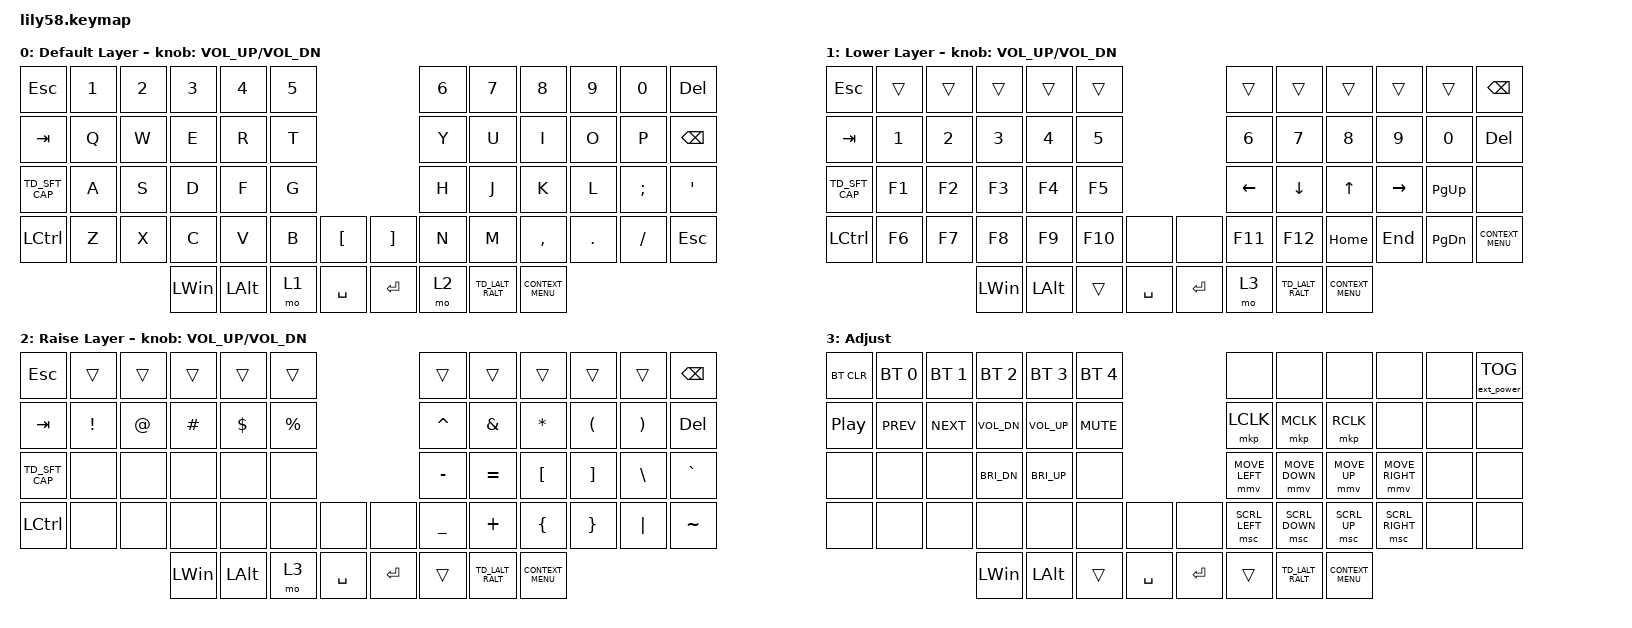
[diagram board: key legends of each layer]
/*
 * Copyright (c) 2020 The ZMK Contributors
 *
 * SPDX-License-Identifier: MIT
 */

// Mouse scrolling and movement velocities
#define ZMK_POINTING_DEFAULT_MOVE_VAL 1500  // default: 600
#define ZMK_POINTING_DEFAULT_SCRL_VAL 20    // default: 10

#include <behaviors.dtsi>
#include <dt-bindings/zmk/bt.h>
#include <dt-bindings/zmk/ext_power.h>
#include <dt-bindings/zmk/keys.h>
#include <dt-bindings/zmk/pointing.h>

&mmv { time-to-max-speed-ms = <1500>; };

/ {
    behaviors {
        TD_SFT_CAP: tap_dance_0 {
            compatible = "zmk,behavior-tap-dance";
            label = "TD_SFT_CAP";
            #binding-cells = <0>;
            tapping-term-ms = <200>;
            bindings = <&kp LEFT_SHIFT>, <&kp CAPS>;
        };

        TD_LALT_RALT: tap_dance_1 {
            compatible = "zmk,behavior-tap-dance";
            label = "TD_LALT_RALT";
            #binding-cells = <0>;
            tapping-term-ms = <200>;
            bindings = <&kp LALT>, <&kp RALT>;
        };
    };

    keymap {
        compatible = "zmk,keymap";

        default_layer {
            display-name = "Default Layer";

            // ------------------------------------------------------------------------------------------------------------
            // |  ESC  |  1  |  2  |  3   |  4   |  5   |                   |  6   |  7    |  8    |  9   |   0   |   `   |
            // |  TAB  |  Q  |  W  |  E   |  R   |  T   |                   |  Y   |  U    |  I    |  O   |   P   |   -   |
            // |  CTRL |  A  |  S  |  D   |  F   |  G   |                   |  H   |  J    |  K    |  L   |   ;   |   '   |
            // | SHIFT |  Z  |  X  |  C   |  V   |  B   |   "["  |  |  "]"  |  N   |  M    |  ,    |  .   |   /   | SHIFT |
            //                     | ALT  | GUI  | LOWER|  SPACE |  | ENTER | RAISE| BSPC  | GUI   |

            bindings = <
&kp ESC      &kp N1  &kp N2  &kp N3        &kp N4        &kp N5                         &kp N6  &kp N7         &kp N8              &kp N9   &kp N0    &kp DEL
&kp TAB      &kp Q   &kp W   &kp E         &kp R         &kp T                          &kp Y   &kp U          &kp I               &kp O    &kp P     &kp BACKSPACE
&TD_SFT_CAP  &kp A   &kp S   &kp D         &kp F         &kp G                          &kp H   &kp J          &kp K               &kp L    &kp SEMI  &kp SQT
&kp LCTRL    &kp Z   &kp X   &kp C         &kp V         &kp B   &kp LBKT     &kp RBKT  &kp N   &kp M          &kp COMMA           &kp DOT  &kp FSLH  &kp ESCAPE
                             &kp LEFT_WIN  &kp LEFT_ALT  &mo 1   &kp SPACE    &kp RET   &mo 2   &TD_LALT_RALT  &kp K_CONTEXT_MENU
            >;

            sensor-bindings = <&inc_dec_kp C_VOL_UP C_VOL_DN>;
        };

        lower_layer {
            display-name = "Lower Layer";

            // ------------------------------------------------------------------------------------------------------------
            // | BTCLR | BT1 | BT2 |  BT3 |  BT4 |  BT5 |                   |      |       |       |      |       |       |
            // |  F1   |  F2 |  F3 |  F4  |  F5  |  F6  |                   |  F7  |  F8   |  F9   |  F10 |  F11  |  F12  |
            // |   `   |  !  |  @  |  #   |  $   |  %   |                   |  ^   |  &    |  *    |  (   |   )   |   ~   |
            // |       |     |     |      |      |      |        |  |       |      |  _    |  +    |  {   |   }   |  "|"  |
            //                     |      |      |      |        |  |       |      |       |       |

            bindings = <
&kp ESC      &trans  &trans  &trans        &trans        &trans                         &trans    &trans          &trans              &trans     &trans         &kp BACKSPACE
&kp TAB      &kp N1  &kp N2  &kp N3        &kp N4        &kp N5                         &kp N6    &kp N7          &kp N8              &kp N9     &kp N0         &kp DEL
&TD_SFT_CAP  &kp F1  &kp F2  &kp F3        &kp F4        &kp F5                         &kp LEFT  &kp DOWN_ARROW  &kp UP              &kp RIGHT  &kp PAGE_UP    &none
&kp LCTRL    &kp F6  &kp F7  &kp F8        &kp F9        &kp F10  &none        &none    &kp F11   &kp F12         &kp HOME            &kp END    &kp PAGE_DOWN  &kp K_CONTEXT_MENU
                             &kp LEFT_WIN  &kp LEFT_ALT  &trans   &kp SPACE    &kp RET  &mo 3     &TD_LALT_RALT   &kp K_CONTEXT_MENU
            >;

            sensor-bindings = <&inc_dec_kp C_VOL_UP C_VOL_DN>;
        };

        raise_layer {
            display-name = "Raise Layer";

            // ------------------------------------------------------------------------------------------------------------
            // |       |     |     |      |      |      |                   |      |       |       |      |       |       |
            // |   `   |  1  |  2  |  3   |  4   |  5   |                   |  6   |   7   |   8   |  9   |   0   |       |
            // |   F1  |  F2 |  F3 |  F4  |  F5  |  F6  |                   |      |   <-  |   v   |  ^   |  ->   |       |
            // |   F7  |  F8 |  F9 |  F10 |  F11 |  F12 |        |  |       |  +   |   -   |   =   |  [   |   ]   |   \   |
            //                     |      |      |      |        |  |       |      |       |       |

            bindings = <
&kp ESC      &trans    &trans  &trans        &trans        &trans                             &trans          &trans         &trans              &trans    &trans         &kp BACKSPACE
&kp TAB      &kp EXCL  &kp AT  &kp HASH      &kp DOLLAR    &kp PERCENT                        &kp CARET       &kp AMPS       &kp STAR            &kp LPAR  &kp RPAR       &kp DEL
&TD_SFT_CAP  &none     &none   &none         &none         &none                              &kp MINUS       &kp EQUAL      &kp LBKT            &kp RBKT  &kp BACKSLASH  &kp GRAVE
&kp LCTRL    &none     &none   &none         &none         &none        &none        &none    &kp UNDERSCORE  &kp PLUS       &kp LBRC            &kp RBRC  &kp PIPE       &kp TILDE
                               &kp LEFT_WIN  &kp LEFT_ALT  &mo 3        &kp SPACE    &kp RET  &trans          &TD_LALT_RALT  &kp K_CONTEXT_MENU
            >;

            sensor-bindings = <&inc_dec_kp C_VOL_UP C_VOL_DN>;
        };

        adjust {
            display-name = "Adjust";
            bindings = <
&bt BT_CLR        &bt BT_SEL 0  &bt BT_SEL 1  &bt BT_SEL 2  &bt BT_SEL 3  &bt BT_SEL 4                        &none           &none           &none               &none            &none  &ext_power EP_TOG
&kp C_PLAY_PAUSE  &kp C_PREV    &kp C_NEXT    &kp C_VOL_DN  &kp C_VOL_UP  &kp C_MUTE                          &mkp LCLK       &mkp MCLK       &mkp RCLK           &none            &none  &none
&none             &none         &none         &kp C_BRI_DN  &kp C_BRI_UP  &none                               &mmv MOVE_LEFT  &mmv MOVE_DOWN  &mmv MOVE_UP        &mmv MOVE_RIGHT  &none  &none
&none             &none         &none         &none         &none         &none         &none        &none    &msc SCRL_LEFT  &msc SCRL_DOWN  &msc SCRL_UP        &msc SCRL_RIGHT  &none  &none
                                              &kp LEFT_WIN  &kp LEFT_ALT  &trans        &kp SPACE    &kp RET  &trans          &TD_LALT_RALT   &kp K_CONTEXT_MENU
            >;
        };
    };
};

// vim:textwidth=0
